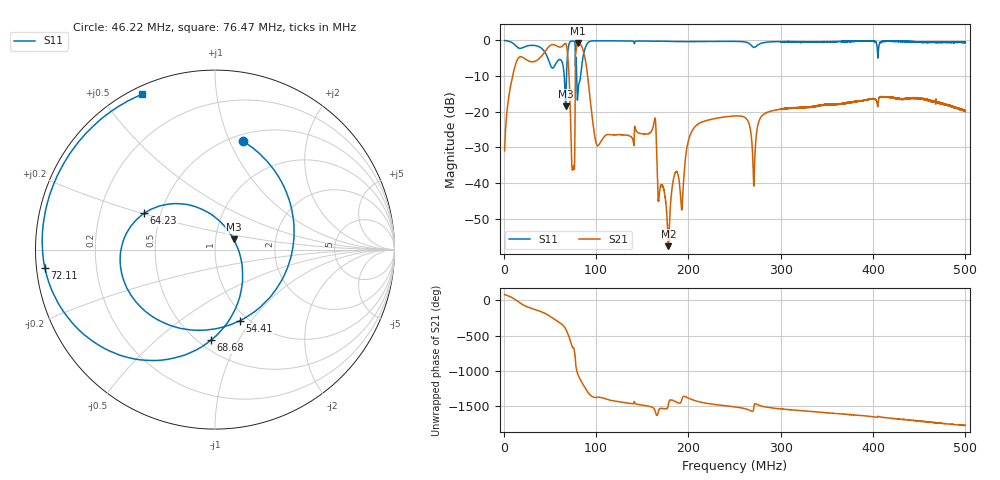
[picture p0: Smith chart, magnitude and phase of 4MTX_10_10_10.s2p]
! NanoVNA-App
! Date: 2026-08-18 21:00:40
! Start: 1MHz Stop: 500MHz Points: 6401
! S-Parameter data: F S11 S21 S12 S22
# Hz S RI R 50
!  Frequency  S11_Real  S11_Imag  S21_Real  S21_Imag  S12_Real  S12_Imag  S22_Real  S22_Imag
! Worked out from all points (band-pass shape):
!   6401 points, 1 MHz to 500 MHz, reference 50 ohm
!   highest |S21| = -0.84 dB at 80.06 MHz (marker M1); lowest = -57.7 dB at 178.5 MHz (marker M2)
!   |S21| within 3 dB of the highest: 42.98 MHz to 69.17 MHz (26.19 MHz wide, 46.7 % of centre); 77.86 MHz to 87.04 MHz (9.179 MHz wide, 11.1 % of centre)
!   lowest |S11| = -18.5 dB at 67.04 MHz (marker M3), VSWR 1.27, Z = 61.2 + j7.07 ohm
!   |S11| at or under -10 dB: 65.56 MHz to 68.03 MHz (2.47 MHz wide, 3.7 % of centre); 79.05 MHz to 83.33 MHz (4.285 MHz wide, 5.28 % of centre)
!   S12 and S22 are empty: the file has one direction only
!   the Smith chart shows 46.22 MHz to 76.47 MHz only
!   S11 on the Smith chart (normalised r, x): 46.22 MHz: 0.57, +1.12; 54.41 MHz: 0.92, -0.88; 64.23 MHz: 0.40, +0.20; 68.68 MHz: 0.57, -0.78; 72.11 MHz: 0.02, -0.05; 76.47 MHz: 0.03, +0.64
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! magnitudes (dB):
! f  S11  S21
! 1 MHz  -0.1  -31.0
! 14.49 MHz  -1.9  -5.6
! 46.22 MHz  -4.1  -2.7
! 54.41 MHz  -7.5  -1.3
! 64.23 MHz  -7.1  -1.5
! 67.04 MHz  -18.5  -0.9
! 68.68 MHz  -5.9  -2.6
! 72.11 MHz  -0.4  -19.4
! 74.68 MHz  -0.3  -36.2
! 76.47 MHz  -0.4  -36.1
! 80.06 MHz  -16.2  -0.8
! 84.19 MHz  -8.0  -1.6
! 101.1 MHz  -0.2  -29.5
! 162.6 MHz  -0.3  -23.4
! 167.4 MHz  -0.3  -44.7
! 178.5 MHz  -0.3  -57.7
! 204.9 MHz  -0.4  -25.0
! 250.5 MHz  -0.3  -21.2
! 270.8 MHz  -2.0  -40.8
! 333.7 MHz  -0.5  -18.6
! 416.9 MHz  -0.3  -16.0
! 500 MHz  -0.7  -20.0
